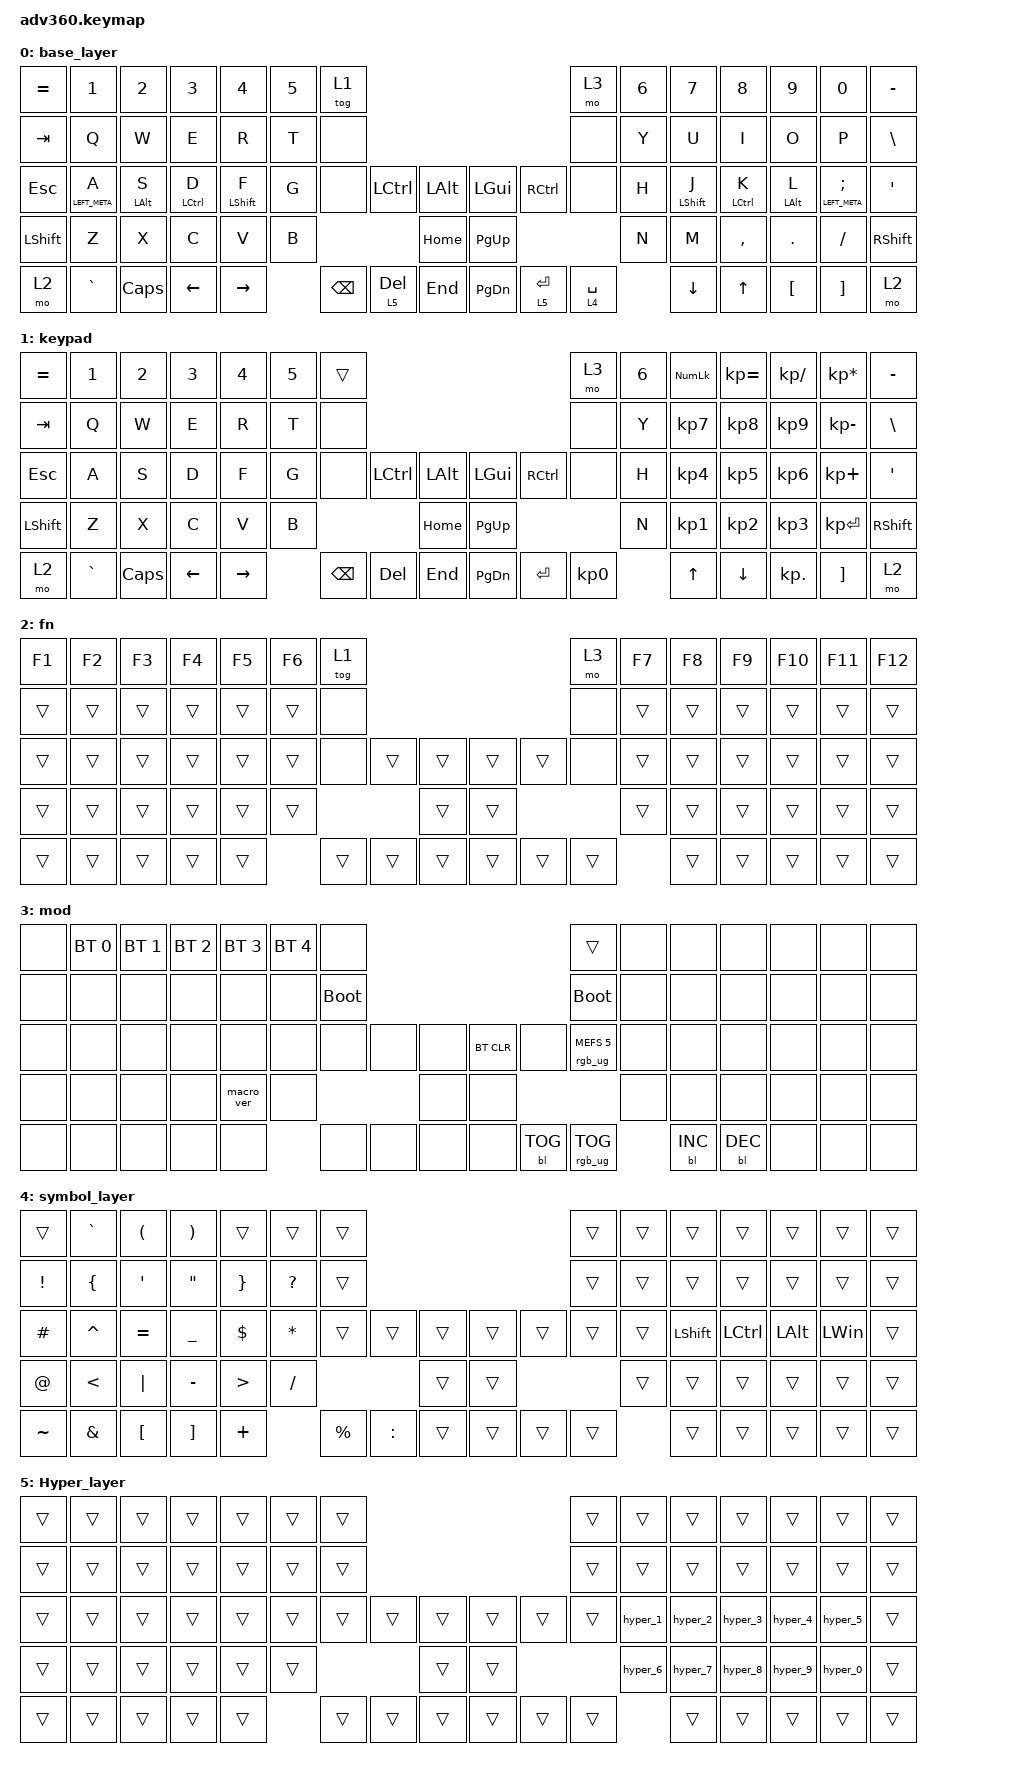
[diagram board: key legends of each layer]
#include <behaviors.dtsi>
#include <dt-bindings/zmk/backlight.h>
#include <dt-bindings/zmk/bt.h>
#include <dt-bindings/zmk/keys.h>
#include <dt-bindings/zmk/rgb.h>

/ {
    behaviors {
        #include "macros.dtsi"
      #include "version.dtsi"
      #ifndef VERSION_MACRO



        #endif

        hm: homerow_mods {
            compatible = "zmk,behavior-hold-tap";
            label = "HOMEROW_MODS";
            #binding-cells = <2>;
            tapping-term-ms = <200>;
            quick_tap_ms = <175>;
            flavor = "tap-preferred";
            bindings = <&kp>, <&kp>;
        };
    };

    combos {
        compatible = "zmk,combos";

        caps_word {
            bindings = <&caps_word>;
            key-positions = <55 56>;
        };

        tab {
            bindings = <&kp TAB>;
            key-positions = <50 49>;
        };
    };

    macros {
        hyper_1: hyper_1 {
            compatible = "zmk,behavior-macro";
            #binding-cells = <0>;
            bindings = <&kp LEFT_COMMAND &kp LEFT_ALT &kp LCTRL &kp LEFT_SHIFT &kp NUMBER_1>;
            label = "HYPER_1";
        };

        hyper_2: hyper_2 {
            compatible = "zmk,behavior-macro";
            #binding-cells = <0>;
            bindings = <&kp LEFT_COMMAND &kp LEFT_ALT &kp LCTRL &kp LEFT_SHIFT &kp NUMBER_2>;
            label = "HYPER_2";
        };

        hyper_3: hyper_3 {
            compatible = "zmk,behavior-macro";
            #binding-cells = <0>;
            bindings = <&kp LEFT_COMMAND &kp LEFT_ALT &kp LCTRL &kp LEFT_SHIFT &kp NUMBER_3>;
            label = "HYPER_3";
        };

        hyper_4: hyper_4 {
            compatible = "zmk,behavior-macro";
            #binding-cells = <0>;
            bindings = <&kp LEFT_COMMAND &kp LEFT_ALT &kp LCTRL &kp LEFT_SHIFT &kp NUMBER_4>;
            label = "HYPER_4";
        };

        hyper_5: hyper_5 {
            compatible = "zmk,behavior-macro";
            #binding-cells = <0>;
            bindings = <&kp LEFT_COMMAND &kp LEFT_ALT &kp LCTRL &kp LEFT_SHIFT &kp NUMBER_5>;
            label = "HYPER_5";
        };

        hyper_6: hyper_6 {
            compatible = "zmk,behavior-macro";
            #binding-cells = <0>;
            bindings = <&kp LEFT_COMMAND &kp LEFT_ALT &kp LCTRL &kp LEFT_SHIFT &kp NUMBER_6>;
            label = "HYPER_6";
        };

        hyper_7: hyper_7 {
            compatible = "zmk,behavior-macro";
            #binding-cells = <0>;
            bindings = <&kp LEFT_COMMAND &kp LEFT_ALT &kp LCTRL &kp LEFT_SHIFT &kp NUMBER_7>;
            label = "HYPER_7";
        };

        hyper_8: hyper_8 {
            compatible = "zmk,behavior-macro";
            #binding-cells = <0>;
            bindings = <&kp LEFT_COMMAND &kp LEFT_ALT &kp LCTRL &kp LEFT_SHIFT &kp NUMBER_8>;
            label = "HYPER_8";
        };

        hyper_9: hyper_9 {
            compatible = "zmk,behavior-macro";
            #binding-cells = <0>;
            bindings = <&kp LEFT_COMMAND &kp LEFT_ALT &kp LCTRL &kp LEFT_SHIFT &kp NUMBER_9>;
            label = "HYPER_9";
        };

        hyper_0: hyper_0 {
            compatible = "zmk,behavior-macro";
            #binding-cells = <0>;
            bindings = <&kp LEFT_COMMAND &kp LEFT_ALT &kp LCTRL &kp LEFT_SHIFT &kp NUMBER_0>;
            label = "HYPER_0";
        };
    };

    keymap {
        compatible = "zmk,keymap";

        base_layer {
            bindings = <
&kp EQUAL  &kp N1           &kp N2          &kp N3              &kp N4            &kp N5  &tog 1                                                        &mo 3        &kp N6  &kp N7            &kp N8              &kp N9          &kp N0                   &kp MINUS
&kp TAB    &kp Q            &kp W           &kp E               &kp R             &kp T   &none                                                         &none        &kp Y   &kp U             &kp I               &kp O           &kp P                    &kp BSLH
&kp ESC    &hm LEFT_META A  &hm LEFT_ALT S  &hm LEFT_CONTROL D  &hm LEFT_SHIFT F  &kp G   &none     &kp LCTRL     &kp LALT      &kp LGUI   &kp RCTRL    &none        &kp H   &hm LEFT_SHIFT J  &hm LEFT_CONTROL K  &hm LEFT_ALT L  &hm LEFT_META SEMICOLON  &kp SQT
&kp LSHFT  &kp Z            &kp X           &kp C               &kp V             &kp B                           &kp HOME      &kp PG_UP                            &kp N   &kp M             &kp COMMA           &kp DOT         &kp FSLH                 &kp RSHFT
&mo 2      &kp GRAVE        &kp CAPS        &kp LEFT            &kp RIGHT                 &kp BSPC  &lt 5 DELETE  &kp END       &kp PG_DN  &lt 5 ENTER  &lt 4 SPACE          &kp DOWN          &kp UP_ARROW        &kp LBKT        &kp RBKT                 &mo 2
            >;
        };

        keypad {
            bindings = <
&kp EQUAL  &kp N1     &kp N2    &kp N3    &kp N4     &kp N5  &trans                                                   &mo 3      &kp N6  &kp KP_NUM  &kp KP_EQUAL  &kp KP_DIVIDE  &kp KP_MULTIPLY  &kp MINUS
&kp TAB    &kp Q      &kp W     &kp E     &kp R      &kp T   &none                                                    &none      &kp Y   &kp KP_N7   &kp KP_N8     &kp KP_N9      &kp KP_MINUS     &kp BSLH
&kp ESC    &kp A      &kp S     &kp D     &kp F      &kp G   &none     &kp LCTRL  &kp LALT      &kp LGUI   &kp RCTRL  &none      &kp H   &kp KP_N4   &kp KP_N5     &kp KP_N6      &kp KP_PLUS      &kp SQT
&kp LSHFT  &kp Z      &kp X     &kp C     &kp V      &kp B                        &kp HOME      &kp PG_UP                        &kp N   &kp KP_N1   &kp KP_N2     &kp KP_N3      &kp KP_ENTER     &kp RSHFT
&mo 2      &kp GRAVE  &kp CAPS  &kp LEFT  &kp RIGHT          &kp BSPC  &kp DEL    &kp END       &kp PG_DN  &kp ENTER  &kp KP_N0          &kp UP      &kp DOWN      &kp KP_DOT     &kp RBKT         &mo 2
            >;
        };

        fn {
            bindings = <
&kp F1  &kp F2  &kp F3  &kp F4  &kp F5  &kp F6  &tog 1                                      &mo 3   &kp F7  &kp F8  &kp F9  &kp F10  &kp F11  &kp F12
&trans  &trans  &trans  &trans  &trans  &trans  &none                                       &none   &trans  &trans  &trans  &trans   &trans   &trans
&trans  &trans  &trans  &trans  &trans  &trans  &none   &trans  &trans      &trans  &trans  &none   &trans  &trans  &trans  &trans   &trans   &trans
&trans  &trans  &trans  &trans  &trans  &trans                  &trans      &trans                  &trans  &trans  &trans  &trans   &trans   &trans
&trans  &trans  &trans  &trans  &trans          &trans  &trans  &trans      &trans  &trans  &trans          &trans  &trans  &trans   &trans   &trans
            >;
        };

        mod {
            bindings = <
&none  &bt BT_SEL 0  &bt BT_SEL 1  &bt BT_SEL 2  &bt BT_SEL 3  &bt BT_SEL 4  &none                                                  &trans                  &none  &none       &none       &none  &none  &none
&none  &none         &none         &none         &none         &none         &bootloader                                            &bootloader             &none  &none       &none       &none  &none  &none
&none  &none         &none         &none         &none         &none         &none        &none  &none      &bt BT_CLR  &none       &rgb_ug RGB_MEFS_CMD 5  &none  &none       &none       &none  &none  &none
&none  &none         &none         &none         &macro_ver    &none                             &none      &none                                           &none  &none       &none       &none  &none  &none
&none  &none         &none         &none         &none                       &none        &none  &none      &none       &bl BL_TOG  &rgb_ug RGB_TOG                &bl BL_INC  &bl BL_DEC  &none  &none  &none
            >;
        };

        symbol_layer {
            bindings = <
&trans     &kp GRAVE       &kp LEFT_PARENTHESIS  &kp RIGHT_PARENTHESIS  &trans            &trans        &trans                                              &trans  &trans  &trans          &trans            &trans        &trans        &trans
&kp EXCL   &kp LEFT_BRACE  &kp SINGLE_QUOTE      &kp DOUBLE_QUOTES      &kp RIGHT_BRACE   &kp QUESTION  &trans                                              &trans  &trans  &trans          &trans            &trans        &trans        &trans
&kp HASH   &kp CARET       &kp EQUAL             &kp UNDERSCORE         &kp DOLLAR        &kp STAR      &trans       &trans     &trans      &trans  &trans  &trans  &trans  &kp LEFT_SHIFT  &kp LEFT_CONTROL  &kp LEFT_ALT  &kp LEFT_WIN  &trans
&kp AT     &kp LESS_THAN   &kp PIPE              &kp MINUS              &kp GREATER_THAN  &kp SLASH                             &trans      &trans                  &trans  &trans          &trans            &trans        &trans        &trans
&kp TILDE  &kp AMPERSAND   &kp LEFT_BRACKET      &kp RIGHT_BRACKET      &kp PLUS                        &kp PERCENT  &kp COLON  &trans      &trans  &trans  &trans          &trans          &trans            &trans        &trans        &trans
            >;
        };

        Hyper_layer {
            bindings = <
&trans  &trans  &trans  &trans  &trans  &trans  &trans                                      &trans  &trans    &trans    &trans    &trans    &trans    &trans
&trans  &trans  &trans  &trans  &trans  &trans  &trans                                      &trans  &trans    &trans    &trans    &trans    &trans    &trans
&trans  &trans  &trans  &trans  &trans  &trans  &trans  &trans  &trans      &trans  &trans  &trans  &hyper_1  &hyper_2  &hyper_3  &hyper_4  &hyper_5  &trans
&trans  &trans  &trans  &trans  &trans  &trans                  &trans      &trans                  &hyper_6  &hyper_7  &hyper_8  &hyper_9  &hyper_0  &trans
&trans  &trans  &trans  &trans  &trans          &trans  &trans  &trans      &trans  &trans  &trans            &trans    &trans    &trans    &trans    &trans
            >;
        };
    };
};
